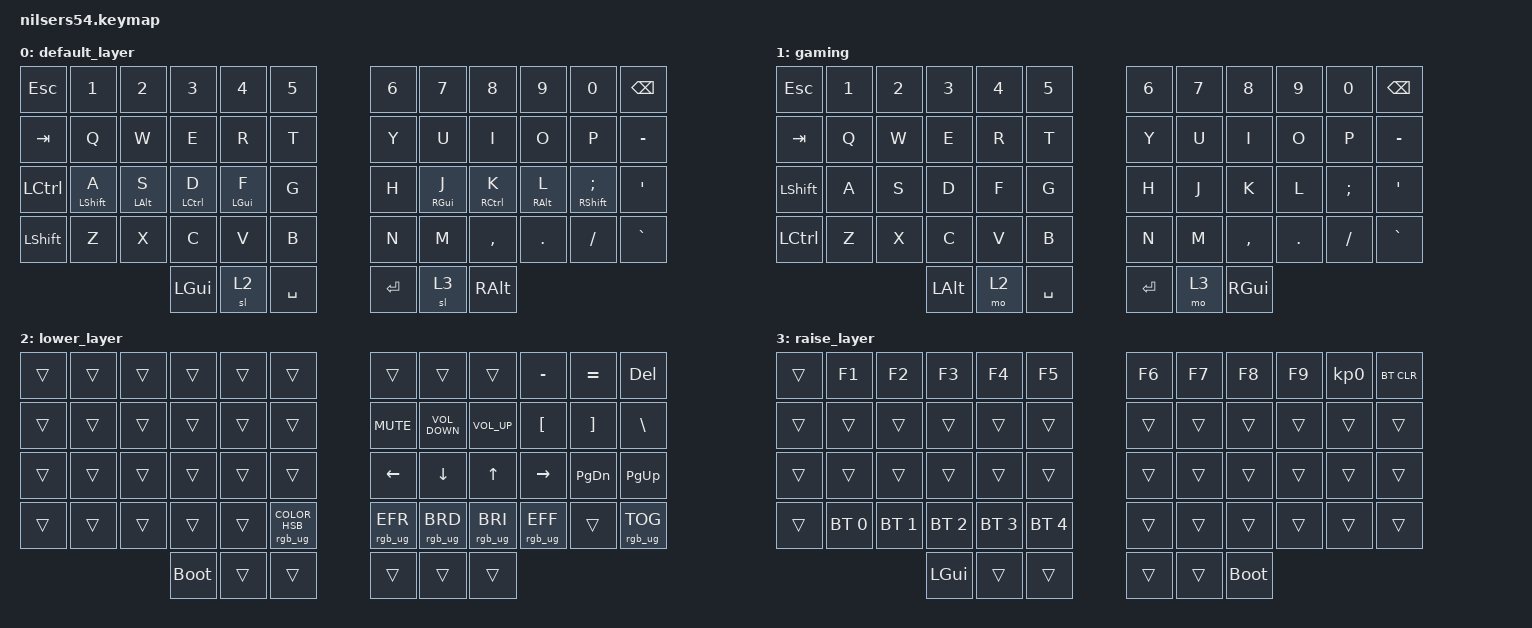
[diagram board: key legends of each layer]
/*
 * Copyright (c) 2020 The ZMK Contributors
 *
 * SPDX-License-Identifier: MIT
 */

#include <behaviors.dtsi>
#include <dt-bindings/zmk/bt.h>
#include <dt-bindings/zmk/keys.h>
#include <dt-bindings/zmk/rgb.h>

/ {
    behaviors {
        ht: ht {
            compatible = "zmk,behavior-hold-tap";
            label = "HT";
            bindings = <&kp>, <&kp>;

            #binding-cells = <2>;
            tapping-term-ms = <200>;
            quick-tap-ms = <200>;
            require-prior-idle-ms = <125>;
            flavor = "tap-preferred";
        };
    };

    combos {
        compatible = "zmk,combos";

        combo_caps {
            timeout-ms = <100>;
            bindings = <&kp CAPSLOCK>;
            key-positions = <36 37>;
        };

        game {
            bindings = <&tog 1>;
            key-positions = <48 49 50>;
        };

        BT_CLEAR_ALL {
            bindings = <&bt BT_CLR_ALL>;
            key-positions = <0 12 24>;
        };
    };

    keymap {
        compatible = "zmk,keymap";

        default_layer {
            // ------------------------------------------------------------------------------------------------------------
            // |  ESC  |  1  |  2  |  3   |  4   |  5   |                   |  6   |  7    |  8    |  9   |   0   |   `   |
            // |  TAB  |  Q  |  W  |  E   |  R   |  T   |                   |  Y   |  U    |  I    |  O   |   P   |   -   |
            // |  CTRL |  A  |  S  |  D   |  F   |  G   |                   |  H   |  J    |  K    |  L   |   ;   |   '   |
            // | SHIFT |  Z  |  X  |  C   |  V   |  B   |                   |  N   |  M    |  ,    |  .   |   /   | SHIFT |
            //                     | GUI  | LOWER| SPACE|                   | ENTER | RAISE| GUI   |

            bindings = <
&kp ESC     &kp N1        &kp N2      &kp N3       &kp N4          &kp N5       &kp N6   &kp N7           &kp N8       &kp N9      &kp N0           &kp BACKSPACE
&kp TAB     &kp Q         &kp W       &kp E        &kp R           &kp T        &kp Y    &kp U            &kp I        &kp O       &kp P            &kp MINUS
&kp LCTRL   &ht LSHIFT A  &ht LALT S  &ht LCTRL D  &ht LEFT_GUI F  &kp G        &kp H    &ht RIGHT_GUI J  &ht RCTRL K  &ht RALT L  &ht RSHIFT SEMI  &kp SQT
&kp LSHIFT  &kp Z         &kp X       &kp C        &kp V           &kp B        &kp N    &kp M            &kp COMMA    &kp DOT     &kp FSLH         &kp GRAVE
                                      &kp LGUI     &sl 2           &kp SPACE    &kp RET  &sl 3            &kp RALT
            >;
        };

        gaming {
            bindings = <
&kp ESC     &kp N1  &kp N2  &kp N3    &kp N4  &kp N5       &kp N6   &kp N7  &kp N8     &kp N9   &kp N0         &kp BACKSPACE
&kp TAB     &kp Q   &kp W   &kp E     &kp R   &kp T        &kp Y    &kp U   &kp I      &kp O    &kp P          &kp MINUS
&kp LSHIFT  &kp A   &kp S   &kp D     &kp F   &kp G        &kp H    &kp J   &kp K      &kp L    &kp SEMICOLON  &kp SQT
&kp LCTRL   &kp Z   &kp X   &kp C     &kp V   &kp B        &kp N    &kp M   &kp COMMA  &kp DOT  &kp FSLH       &kp GRAVE
                            &kp LALT  &mo 2   &kp SPACE    &kp RET  &mo 3   &kp RGUI
            >;
        };

        lower_layer {
            // ------------------------------------------------------------------------------------------------------------
            // | BTCLR | BT1 | BT2 |  BT3 |  BT4 |  BT5 |                   |      |       |       |      |       |       |
            // |  F1   |  F2 |  F3 |  F4  |  F5  |  F6  |                   |  F7  |  F8   |  F9   |  F10 |  F11  |  F12  |
            // |   `   |  !  |  @  |  #   |  $   |  %   |                   |  ^   |  &    |  *    |  (   |   )   |   ~   |
            // |       |     |     |      |      |      |        |  |       |      |  _    |  +    |  {   |   }   |  "|"  |
            //                     |      |      |      |        |  |       |      |       |       |

            bindings = <
&trans  &trans  &trans  &trans       &trans  &trans                               &trans           &trans             &trans           &kp MINUS         &kp EQUAL          &kp DEL
&trans  &trans  &trans  &trans       &trans  &trans                               &kp K_MUTE       &kp C_VOLUME_DOWN  &kp C_VOLUME_UP  &kp LEFT_BRACKET  &kp RIGHT_BRACKET  &kp BACKSLASH
&trans  &trans  &trans  &trans       &trans  &trans                               &kp LEFT         &kp DOWN           &kp UP           &kp RIGHT         &kp PAGE_DOWN      &kp PAGE_UP
&trans  &trans  &trans  &trans       &trans  &rgb_ug RGB_COLOR_HSB(276,100,50)    &rgb_ug RGB_EFR  &rgb_ug RGB_BRD    &rgb_ug RGB_BRI  &rgb_ug RGB_EFF   &trans             &rgb_ug RGB_TOG
                        &bootloader  &trans  &trans                               &trans           &trans             &trans
            >;
        };

        raise_layer {
            // ------------------------------------------------------------------------------------------------------------
            // |       |     |     |      |      |      |                   |      |       |       |      |       |       |
            // |   `   |  1  |  2  |  3   |  4   |  5   |                   |  6   |   7   |   8   |  9   |   0   |       |
            // |   F1  |  F2 |  F3 |  F4  |  F5  |  F6  |                   |      |   <-  |   v   |  ^   |  ->   |       |
            // |   F7  |  F8 |  F9 |  F10 |  F11 |  F12 |        |  |       |  +   |   -   |   =   |  [   |   ]   |   \   |
            //                     |      |      |      |        |  |       |      |       |       |

            bindings = <
&trans  &kp F1        &kp F2        &kp F3        &kp F4        &kp F5          &kp F6  &kp F7  &kp F8       &kp F9  &kp KP_N0  &bt BT_CLR
&trans  &trans        &trans        &trans        &trans        &trans          &trans  &trans  &trans       &trans  &trans     &trans
&trans  &trans        &trans        &trans        &trans        &trans          &trans  &trans  &trans       &trans  &trans     &trans
&trans  &bt BT_SEL 0  &bt BT_SEL 1  &bt BT_SEL 2  &bt BT_SEL 3  &bt BT_SEL 4    &trans  &trans  &trans       &trans  &trans     &trans
                                    &kp LGUI      &trans        &trans          &trans  &trans  &bootloader
            >;
        };
    };
};
